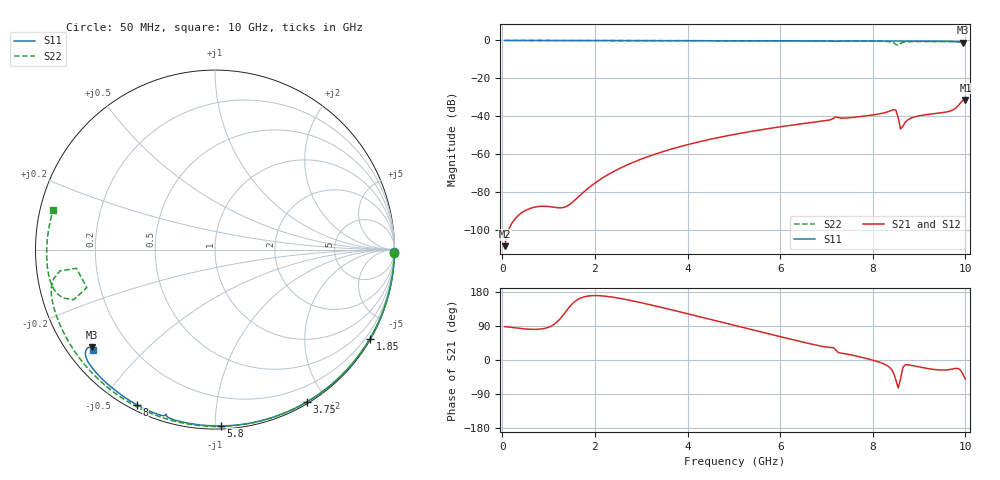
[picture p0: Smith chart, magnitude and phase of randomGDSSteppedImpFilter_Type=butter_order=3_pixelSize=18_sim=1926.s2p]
! freq	dB(S11)	phase(S11)	dB(S12)	phase(S12)
!  dB(S21)	phase(S21)	dB(S22)	phase(S22)
!S-par simulation data
#  GHz  S  DB  R 50
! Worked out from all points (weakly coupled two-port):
!   200 points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, 50 MHz to 10 GHz, reference 50 ohm
!   highest |S21| = -31.44 dB at 10 GHz (marker M1); lowest = -108.8 dB at 50 MHz (marker M2)
!   lowest |S11| = -1.2 dB at 9.95 GHz (marker M3), VSWR 14.91, Z = 3.76 - j17.3 ohm
!   |S11| at or under -10 dB: nowhere
!   |S22| runs from -2.6 to 0.0 dB; largest |S21 - S12| = 0
!   S11 on the Smith chart (normalised r, x): 50 MHz: open; 1.85 GHz: 0.03, -3.75; 3.75 GHz: 0.02, -1.77; 5.8 GHz: 0.02, -1.04; 8 GHz: 0.02, -0.62; 10 GHz: 0.07, -0.36
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0.05  -0.00 -0.8  -108.76 88.1  -108.76 88.1  -0.00 -1.1
0.85  -0.02 -13.9  -87.66 82.0  -87.66 82.0  -0.02 -18.9
1.75  -0.04 -28.3  -80.33 166.0  -80.33 166.0  -0.05 -38.5
1.85  -0.04 -29.9  -78.24 168.7  -78.24 168.7  -0.05 -40.6
2.5  -0.05 -40.0  -68.08 163.5  -68.08 163.5  -0.07 -54.3
3.4  -0.07 -53.8  -59.29 139.9  -59.29 139.9  -0.10 -72.5
3.75  -0.08 -59.0  -56.73 129.6  -56.73 129.6  -0.11 -79.4
5.05  -0.12 -77.7  -49.49 90.2  -49.49 90.2  -0.16 -104.0
5.8  -0.15 -88.0  -46.39 67.6  -46.39 67.6  -0.20 -117.7
6.7  -0.20 -100.1  -43.33 41.3  -43.33 41.3  -0.26 -133.8
7.2  -0.40 -106.5  -40.37 26.7  -40.37 26.7  -0.30 -142.8
7.4  -0.25 -108.7  -41.05 16.5  -41.05 16.5  -0.32 -146.5
8  -0.28 -116.6  -39.38 -0.5  -39.38 -0.5  -0.39 -158.2
8.35  -0.31 -121.1  -37.49 -18.1  -37.49 -18.1  -0.61 -167.5
8.45  -0.32 -122.4  -36.53 -34.4  -36.53 -34.4  -1.19 -172.2
8.5  -0.32 -123.0  -36.88 -53.3  -36.88 -53.3  -2.16 -172.3
8.55  -0.33 -123.6  -40.93 -73.9  -40.93 -73.9  -2.56 -163.5
8.6  -0.34 -124.3  -46.83 -50.2  -46.83 -50.2  -1.57 -160.5
8.8  -0.35 -126.8  -41.35 -13.3  -41.35 -13.3  -0.62 -167.8
9.7  -0.53 -139.3  -37.06 -24.2  -37.06 -24.2  -0.60 172.4
9.95  -1.17 -141.6  -31.64 -38.4  -31.64 -38.4  -0.63 167.3
10  -1.11 -140.3  -31.44 -50.4  -31.44 -50.4  -0.63 166.2
